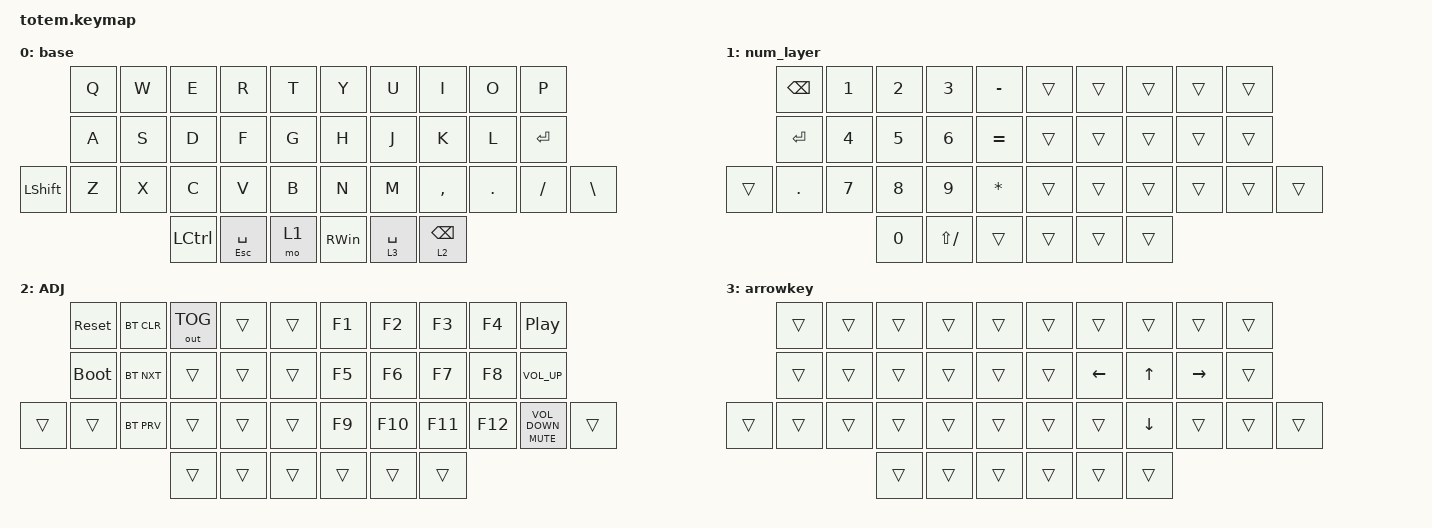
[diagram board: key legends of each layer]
//
//                                                        ▀▀▀▀▀     ▀▀▀▀▀          ▀▀█▀▀
//                                                        ▄▀▀▀▄  ▄  ▄▀▀▀▄  ▄  ▄▀▀▀▄  █  ▄▀▀▀▄
//                                                        █   █  █  █   █  █  █   █  █  █   █
//                                                         ▀▀▀   █   ▀▀▀   █   ▀▀▀   ▀   ▀▀▀
//                                                               █      ▄▄▄█▄▄▄    █   █  
//                                                               ▀      █  █  █     █▄█
//                                                             ▀▀▀▀▀    █  █  █      ▀
//                                                                      ▀  ▀  ▀
//
// ▄▄▄▄▄▄▄▄▄▄▄▄▄▄▄▄▄▄▄▄▄▄▄▄▄▄▄▄▄▄▄▄▄▄▄▄▄▄▄▄▄▄▄▄▄▄▄▄▄▄▄▄▄▄▄▄▄▄▄▄▄▄▄▄▄▄▄▄▄▄▄▄▄▄▄▄▄▄▄▄▄▄▄▄▄▄▄▄▄▄▄▄▄▄▄▄▄▄▄▄▄▄▄▄▄▄▄▄▄▄▄▄▄▄▄▄▄▄▄▄▄▄▄▄▄▄▄▄▄▄▄▄▄▄▄▄▄▄▄▄▄▄▄▄▄▄▄▄▄

#include <behaviors.dtsi>
#include <dt-bindings/zmk/bt.h>
#include <dt-bindings/zmk/keys.h>
#include <dt-bindings/zmk/outputs.h>

#define BASE 0
#define NAV  1
#define SYM  2
#define ADJ  3
#define TVP1 4
#define TVP2 5

&mt {
    quick-tap-ms = <100>;
    global-quick-tap;
    flavor = "tap-preferred";
    tapping-term-ms = <170>;
};

/ {
    combos {
        compatible = "zmk,combos";

        combo_esc {
            timeout-ms = <50>;
            key-positions = <0 1>;
            bindings = <&kp ESC>;
        };

        combo_tvp {
            timeout-ms = <100>;
            key-positions = <11 12 13>;
            bindings = <&tog 0>;
        };
    };

    macros {
        gif: gif {
            label = "giphy";
            compatible = "zmk,behavior-macro";
            #binding-cells = <0>;
            bindings =
                <&macro_press>,
                <&kp LSHFT>,
                <&macro_tap>,
                <&kp N2>,
                <&macro_release>,
                <&kp LSHFT>,
                <&macro_tap>,
                <&kp G &kp I &kp F>;
        };
    };

    keymap {
        compatible = "zmk,keymap";

        // ▄▄▄▄▄▄▄▄▄▄▄▄▄▄▄▄▄▄▄▄▄▄▄▄▄▄▄▄▄▄▄▄▄▄▄▄▄▄▄▄▄▄▄▄▄▄▄▄▄▄▄▄▄▄▄▄▄▄▄▄▄▄▄▄▄▄▄▄▄▄▄▄▄▄▄▄▄▄▄▄▄▄▄▄▄▄▄▄▄▄▄▄▄▄▄▄▄▄▄▄▄▄▄▄▄▄▄▄▄▄▄▄▄▄▄▄▄▄▄▄▄▄▄▄▄▄▄▄▄▄▄▄▄▄▄▄▄▄▄▄▄▄▄▄▄▄▄▄▄

        base {
            bindings = <
           &kp Q  &kp W  &kp E      &kp R             &kp T    &kp Y          &kp U        &kp I            &kp O    &kp P
           &kp A  &kp S  &kp D      &kp F             &kp G    &kp H          &kp J        &kp K            &kp L    &kp ENTER
&kp LSHFT  &kp Z  &kp X  &kp C      &kp V             &kp B    &kp N          &kp M        &kp COMMA        &kp DOT  &kp FSLH   &kp BSLH
                         &kp LCTRL  &mt ESCAPE SPACE  &mo 1    &kp RIGHT_WIN  &lt 3 SPACE  &lt 2 BACKSPACE
            >;
        };

        num_layer {
            bindings = <
        &kp BSPC   &kp N1  &kp N2  &kp N3         &kp MINUS    &trans  &trans  &trans  &trans  &trans
        &kp ENTER  &kp N4  &kp N5  &kp N6         &kp EQUAL    &trans  &trans  &trans  &trans  &trans
&trans  &kp DOT    &kp N7  &kp N8  &kp N9         &kp ASTRK    &trans  &trans  &trans  &trans  &trans  &trans
                           &kp N0  &kp LS(SLASH)  &trans       &trans  &trans  &trans
            >;
        };

        adjust_layer {
            // ┏━━━━━━━━━━━━━━━━━━━━━━━━━━━━━━━━━━━━━━━┓

            label = "ADJ";

            // ┗━━━━━━━━━━━━━━━━━━━━━━━━━━━━━━━━━━━━━━━┛
            //             ┏━━━━━━━━━━━┳━━━━━━━━━━━┳━━━━━━━━━━━┳━━━━━━━━━━━┳━━━━━━━━━━━┓   ┏━━━━━━━━━━━┳━━━━━━━━━━━┳━━━━━━━━━━━┳━━━━━━━━━━━┳━━━━━━━━━━━┓
            //             ┃   RESET   ┃ BT CLEAR  ┃  OUT TOG  ┃           ┃           ┃   ┃           ┃    F7     ┃    F8     ┃    F9     ┃    F12    ┃
            //             ┣━━━━━━━━━━━╋━━━━━━━━━━━╋━━━━━━━━━━━╋━━━━━━━━━━━╋━━━━━━━━━━━┫   ┣━━━━━━━━━━━╋━━━━━━━━━━━╋━━━━━━━━━━━╋━━━━━━━━━━━╋━━━━━━━━━━━┫
            //             ┃ BOOTLOAD  ┃ BT NEXT   ┃           ┃           ┃           ┃   ┃           ┃    F4     ┃    F5     ┃    F6     ┃    F11    ┃
            // ┏━━━━━━━━━━━╋━━━━━━━━━━━╋━━━━━━━━━━━╋━━━━━━━━━━━╋━━━━━━━━━━━╋━━━━━━━━━━━┫   ┣━━━━━━━━━━━╋━━━━━━━━━━━╋━━━━━━━━━━━╋━━━━━━━━━━━╋━━━━━━━━━━━╋━━━━━━━━━━━┓
            // ┃           ┃           ┃ BT PREV   ┃           ┃           ┃           ┃   ┃           ┃    F1     ┃    F2     ┃    F3     ┃    F10    ┃           ┃
            // ┗━━━━━━━━━━━┻━━━━━━━━━━━┻━━━━━━━━━━━╋━━━━━━━━━━━╋━━━━━━━━━━━╋━━━━━━━━━━━┫   ┣━━━━━━━━━━━╋━━━━━━━━━━━╋━━━━━━━━━━━╋━━━━━━━━━━━┻━━━━━━━━━━━┻━━━━━━━━━━━┛
            //                                     ┃           ┃           ┃           ┃   ┃           ┃           ┃           ┃
            //                                     ┗━━━━━━━━━━━┻━━━━━━━━━━━┻━━━━━━━━━━━┛   ┗━━━━━━━━━━━┻━━━━━━━━━━━┻━━━━━━━━━━━┛

            bindings = <
        &sys_reset   &bt BT_CLR  &out OUT_TOG  &trans  &trans    &kp F1  &kp F2   &kp F3   &kp F4   &kp C_PLAY_PAUSE
        &bootloader  &bt BT_NXT  &trans        &trans  &trans    &kp F5  &kp F6   &kp F7   &kp F8   &kp C_VOLUME_UP
&trans  &trans       &bt BT_PRV  &trans        &trans  &trans    &kp F9  &kp F10  &kp F11  &kp F12  &mt K_MUTE K_VOLUME_DOWN  &trans
                                 &trans        &trans  &trans    &trans  &trans   &trans
            >;
        };

        arrowkey {
            bindings = <
        &trans  &trans  &trans  &trans  &trans    &trans  &trans          &trans          &trans           &trans
        &trans  &trans  &trans  &trans  &trans    &trans  &kp LEFT_ARROW  &kp UP_ARROW    &kp RIGHT_ARROW  &trans
&trans  &trans  &trans  &trans  &trans  &trans    &trans  &trans          &kp DOWN_ARROW  &trans           &trans  &trans
                        &trans  &trans  &trans    &trans  &trans          &trans
            >;
        };
    };
};
